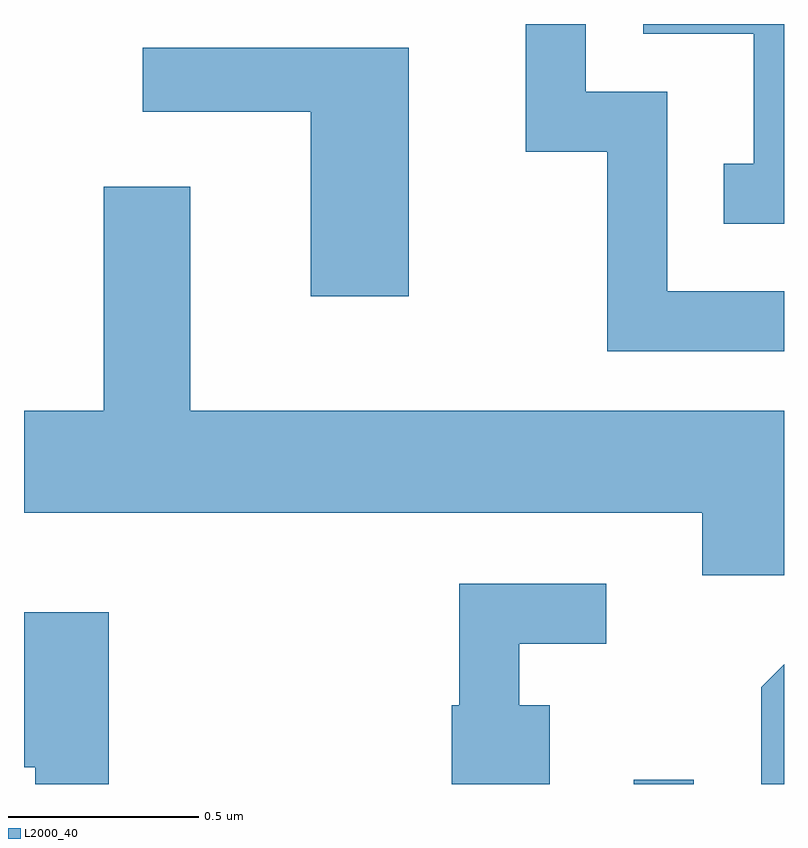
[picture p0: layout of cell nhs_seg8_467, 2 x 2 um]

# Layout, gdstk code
import gdstk
lib = gdstk.Library(unit=1e-6, precision=1e-09)
def R(c, l, rs):  # rectangles x0, y0, x1, y1
    for r in rs: c.add(gdstk.rectangle(r[:2], r[2:], *l))
def P(c, l, *ps):  # polygons
    for p in ps: c.add(gdstk.Polygon(p, *l))
L2000_40 = (2000, 40)

nhs_seg8_467 = lib.new_cell('nhs_seg8_467')
R(nhs_seg8_467, L2000_40, [(190.216,1862.342,190.374,1862.353)])
P(nhs_seg8_467, L2000_40, [(190.611,1864.342),(190.241,1864.342),(190.241,1864.316),(190.531,1864.316),(190.531,1863.974),(190.453,1863.974),(190.453,1863.816),(190.611,1863.816)],
  [(190.611,1863.639),(190.304,1863.639),(190.304,1864.164),(190.089,1864.164),(190.089,1864.342),(189.931,1864.342),(189.931,1864.006),(190.146,1864.006),(190.146,1863.481),(190.611,1863.481)],
  [(189.624,1864.279),(188.923,1864.279),(188.923,1864.111),(189.366,1864.111),(189.366,1863.626),(189.624,1863.626)],
  [(190.611,1863.324),(189.049,1863.324),(189.049,1863.914),(188.821,1863.914),(188.821,1863.324),(188.611,1863.324),(188.611,1863.056),(190.396,1863.056),(190.396,1862.891),(190.611,1862.891)],
  [(189.994,1862.549),(189.914,1862.549),(189.914,1862.711),(190.143,1862.711),(190.143,1862.869),(189.756,1862.869),(189.756,1862.549),(189.736,1862.549),(189.736,1862.342),(189.994,1862.342)],
  [(188.834,1862.794),(188.611,1862.794),(188.611,1862.386),(188.641,1862.386),(188.641,1862.342),(188.834,1862.342)],
  [(190.611,1862.657),(190.551,1862.597),(190.551,1862.342),(190.611,1862.342)])

lib.write_gds('nhs_seg8_467.gds')
